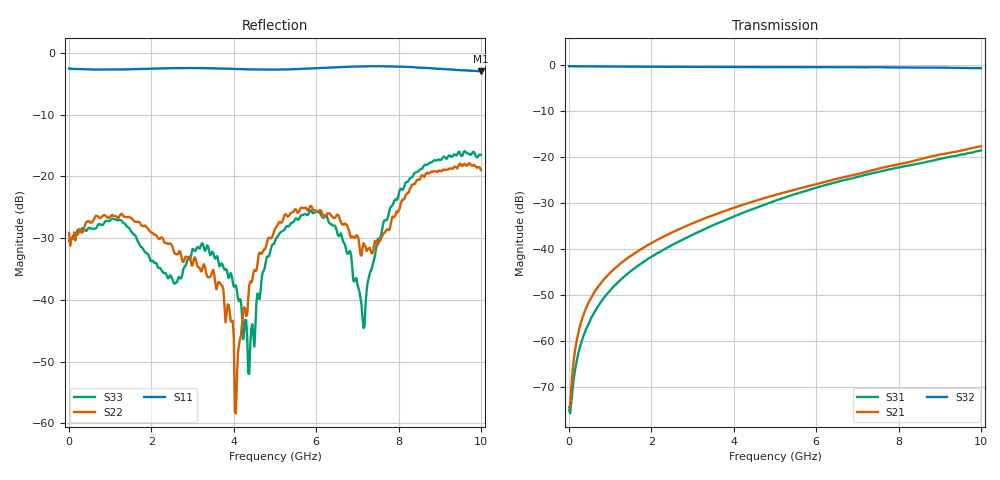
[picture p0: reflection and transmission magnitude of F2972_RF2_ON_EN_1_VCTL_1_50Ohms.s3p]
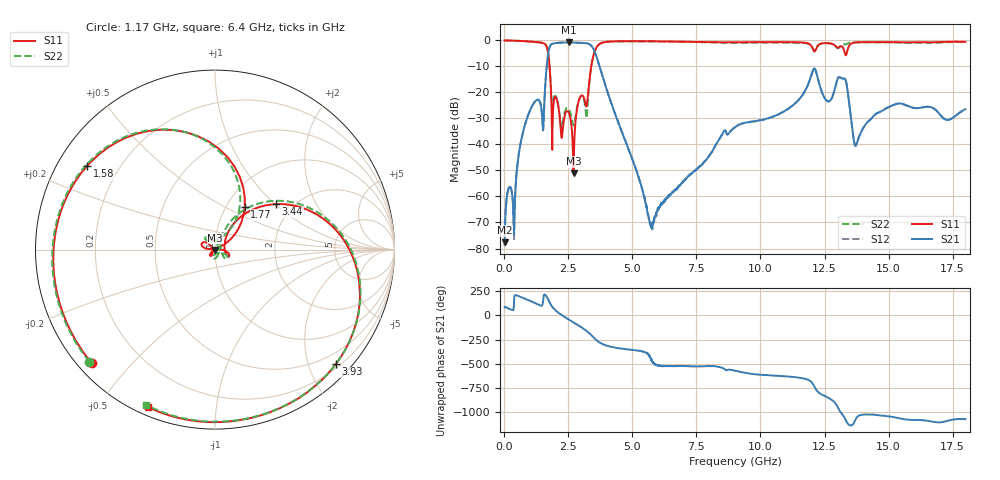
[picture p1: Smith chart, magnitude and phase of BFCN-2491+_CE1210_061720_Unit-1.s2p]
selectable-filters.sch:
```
<Qucs Schematic 0.0.20>
<Properties>
  <View=36,-440,2223,1395,0.617438,0,120>
  <Grid=10,10,1>
  <DataSet=sband-rx.dat>
  <DataDisplay=sband-rx.dpl>
  <OpenDisplay=1>
  <Script=sband-rx.m>
  <RunScript=0>
  <showFrame=0>
  <FrameText0=Title>
  <FrameText1=Drawn By:>
  <FrameText2=Date:>
  <FrameText3=Revision:>
</Properties>
<Symbol>
</Symbol>
<Components>
  <GND *9 5 1580 500 0 0 0 0>
  <L L4 1 730 230 8 -26 0 1 "54.3 pH" 1 "" 0>
  <C C4 1 700 230 -8 46 0 1 "113 pF" 1 "" 0 "neutral" 0>
  <GND *6 5 730 260 0 0 0 0>
  <L L5 1 840 150 -26 -44 0 0 "145 nH" 1 "" 0>
  <C C5 1 780 150 -26 10 0 0 "42.5 fF" 1 "" 0 "neutral" 0>
  <L L6 1 870 230 8 -26 0 1 "38.6 pH" 1 "" 0>
  <C C6 1 840 230 -8 46 0 1 "159 pF" 1 "" 0 "neutral" 0>
  <GND *7 5 870 260 0 0 0 0>
  <L L7 1 980 150 -26 -44 0 0 "145 nH" 1 "" 0>
  <C C7 1 920 150 -26 10 0 0 "42.5 fF" 1 "" 0 "neutral" 0>
  <L L8 1 1010 230 8 -26 0 1 "54.3 pH" 1 "" 0>
  <C C8 1 980 230 -8 46 0 1 "113 pF" 1 "" 0 "neutral" 0>
  <GND *8 5 1010 260 0 0 0 0>
  <Pac P5 1 1580 470 18 -26 0 1 "1" 1 "50 Ohm" 1 "0 dBm" 0 "1 GHz" 0 "26.85" 0>
  <GND *5 5 320 450 0 0 0 0>
  <GND *12 5 830 1350 0 0 0 0>
  <Pac P8 1 660 1280 18 -26 0 1 "4" 1 "50 Ohm" 1 "0 dBm" 0 "1 GHz" 0 "26.85" 0>
  <Pac P7 1 1000 1280 18 -26 0 1 "3" 1 "50 Ohm" 1 "0 dBm" 0 "1 GHz" 0 "26.85" 0>
  <Eqn Eqn3 1 1200 1230 -28 15 0 0 "S34_dB=dB(S[3,4])" 1 "S44_dB=dB(S[4,4])" 1 "yes" 0>
  <C C10 1 1200 150 -26 17 0 0 "100 pF" 1 "" 0 "neutral" 0>
  <C C11 1 1160 470 -26 17 0 0 "100 pF" 1 "" 0 "neutral" 0>
  <C C12 1 450 320 -26 17 0 0 "100 pF" 1 "" 0 "neutral" 0>
  <Eqn Eqn2 1 840 -100 -28 15 0 0 "S21_dB=dB(S[2,1])" 1 "S25_dB=dB(S[2,5])" 1 "S11_dB=dB(S[1,1])" 1 "S55_dB=dB(S[5,5])" 1 "yes" 0>
  <GND *11 5 870 500 0 0 0 0>
  <Pac P6 1 320 380 18 -26 0 1 "2" 1 "50 Ohm" 1 "0 dBm" 0 "1 GHz" 0 "26.85" 0>
  <SUBST FR4_elecrow 1 1030 -110 -30 24 0 0 "4.3" 1 "0.18mm" 1 "0.035 mm" 1 "0.015" 1 "1.72e-8" 1 "0" 1>
  <MTEE MS6 1 600 320 34 -26 1 1 "FR4_elecrow" 0 "0.65mm" 1 "0.65mm" 1 "0.65mm" 1 "Hammerstad" 0 "Kirschning" 0 "26.85" 0 "showNumbers" 0>
  <MLIN MS5 1 650 150 -26 -68 1 0 "FR4_elecrow" 0 "0.15 mm" 1 "10 mm" 1 "Hammerstad" 0 "Kirschning" 0 "26.85" 0>
  <MLIN MS2 1 720 470 -26 14 0 0 "FR4_elecrow" 0 "0.15 mm" 1 "5 mm" 1 "Hammerstad" 0 "Kirschning" 0 "26.85" 0>
  <MLIN MS3 1 1040 470 -26 14 0 0 "FR4_elecrow" 0 "0.15 mm" 1 "5 mm" 1 "Hammerstad" 0 "Kirschning" 0 "26.85" 0>
  <MLIN MS4 1 1080 150 -26 -68 1 0 "FR4_elecrow" 0 "0.15 mm" 1 "2 mm" 1 "Hammerstad" 0 "Kirschning" 0 "26.85" 0>
  <MLIN MS7 1 740 1230 -26 -68 1 0 "FR4_elecrow" 0 "0.15 mm" 1 "5 mm" 1 "Hammerstad" 0 "Kirschning" 0 "26.85" 0>
  <MLIN MS8 1 900 1230 -26 -68 1 0 "FR4_elecrow" 0 "0.15 mm" 1 "5 mm" 1 "Hammerstad" 0 "Kirschning" 0 "26.85" 0>
  <C C9 1 1480 340 -26 17 0 0 "100 pF" 1 "" 0 "neutral" 0>
  <SPfile X1 1 1310 370 -70 -26 1 3 "F2972_RF2_ON_EN_1_VCTL_1_50Ohms.s3p" 0 "rectangular" 0 "linear" 0 "open" 0 "3" 0>
  <GND *10 5 1390 480 0 0 0 0>
  <.SP SP2 1 600 -110 0 68 0 0 "log" 1 "1000 MHz" 1 "4000 MHz" 1 "1000" 1 "no" 0 "1" 0 "2" 0 "no" 0 "no" 0>
  <SPfile X5 1 830 1230 -26 -38 0 0 "BFCN-2491+_CE1210_061720_Unit-1.s2p" 0 "rectangular" 0 "linear" 0 "open" 0 "2" 0>
  <SPfile X6 1 870 470 -26 -38 0 0 "BFCN-2491+_CE1210_061720_Unit-1.s2p" 0 "rectangular" 0 "linear" 0 "open" 0 "2" 0>
</Components>
<Wires>
  <730 150 730 200 "" 0 0 0 "">
  <870 150 870 200 "" 0 0 0 "">
  <1010 150 1010 200 "" 0 0 0 "">
  <730 150 750 150 "" 0 0 0 "">
  <700 200 730 200 "" 0 0 0 "">
  <700 260 730 260 "" 0 0 0 "">
  <870 150 890 150 "" 0 0 0 "">
  <840 200 870 200 "" 0 0 0 "">
  <840 260 870 260 "" 0 0 0 "">
  <980 200 1010 200 "" 0 0 0 "">
  <980 260 1010 260 "" 0 0 0 "">
  <680 150 730 150 "" 0 0 0 "">
  <600 150 600 290 "" 0 0 0 "">
  <600 150 620 150 "" 0 0 0 "">
  <480 320 570 320 "" 0 0 0 "">
  <1010 150 1050 150 "" 0 0 0 "">
  <1110 150 1170 150 "" 0 0 0 "">
  <660 1350 830 1350 "" 0 0 0 "">
  <660 1310 660 1350 "" 0 0 0 "">
  <660 1230 710 1230 "" 0 0 0 "">
  <660 1230 660 1250 "" 0 0 0 "">
  <830 1350 1000 1350 "" 0 0 0 "">
  <1000 1310 1000 1350 "" 0 0 0 "">
  <930 1230 1000 1230 "" 0 0 0 "">
  <1000 1230 1000 1250 "" 0 0 0 "">
  <600 350 600 470 "" 0 0 0 "">
  <600 470 690 470 "" 0 0 0 "">
  <1070 470 1130 470 "" 0 0 0 "">
  <750 470 840 470 "" 0 0 0 "">
  <900 470 1010 470 "" 0 0 0 "">
  <320 410 320 450 "" 0 0 0 "">
  <320 320 420 320 "" 0 0 0 "">
  <320 320 320 350 "" 0 0 0 "">
  <1230 150 1280 150 "" 0 0 0 "">
  <1580 340 1580 440 "" 0 0 0 "">
  <1510 340 1580 340 "" 0 0 0 "">
  <1340 340 1450 340 "" 0 0 0 "">
  <1280 150 1280 340 "" 0 0 0 "">
  <1370 370 1390 370 "" 0 0 0 "">
  <1390 370 1390 480 "" 0 0 0 "">
  <1280 400 1280 470 "" 0 0 0 "">
  <1190 470 1280 470 "" 0 0 0 "">
  <830 1260 830 1350 "" 0 0 0 "">
  <860 1230 870 1230 "" 0 0 0 "">
  <770 1230 800 1230 "" 0 0 0 "">
</Wires>
<Diagrams>
  <Rect 230 961 1823 371 3 #c0c0c0 1 00 1 1.8e+09 2e+07 2.6e+09 1 -168.59 20 20 1 -1 0.2 1 315 0 225 "" "" "" "">
	<"S21_dB" #ff0000 0 3 0 0 0>
	  <Mkr 1.99861e+09 188 -430 3 0 0>
	  <Mkr 2.05486e+09 618 -420 3 0 0>
	  <Mkr 2.04348e+09 384 -393 3 0 0>
	<"S34_dB" #ff00ff 0 3 0 0 0>
	  <Mkr 2.10683e+09 770 -423 3 0 0>
	  <Mkr 2.23948e+09 1062 -396 3 0 0>
	<"S25_dB" #55557f 0 3 0 0 0>
  </Rect>
  <Smith 1450 96 516 516 3 #c0c0c0 1 00 1 0 1 1 1 0 4 1 1 0 1 1 315 0 225 "" "" "" "">
	<"S[1,2]" #ff00ff 0 3 0 0 0>
  </Smith>
</Diagrams>
<Paintings>
  <Text 1190 60 12 #000000 0 "Chebyshev band-pass filter \n 2 GHz...2.06 GHz, pi-type, \n impedance matching 50 Ohm">
  <Text 1290 260 12 #000000 0 "Reflective Short F2972 or add power source with 0.1Ohm\nReflective Open HMC544 (need to change the ports) or add power source with 1MOhm">
</Paintings>
```
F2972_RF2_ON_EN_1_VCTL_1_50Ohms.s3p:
! Integrated Device Technology
! Corporate Headquarters
! 6024 Silver Creek Valley Road
! San Jose, CA 95138  USA
! Phone:  1-408-284-8200
! Toll Free:  1-800-223-1366
! Webpage:  http://www.idt.com/
! Timing and RF Division
! 515 Groton Road, Suite 102
! Westford, MA 01886-6024
! Device:  F2972
! Description: High Linearity Broadband SP2T
! Frequency:  0.005 - 10.000 GHz
! Package:  2x2 mm LQFN Plastic Package: 12 pin
! Ports:  3 RF, 3 DC
!  Pin  1  = GND
!  Pin  2  = RFC  = Port 3
!  Pin  3  = GND
!  Pin  4  = GND
!  Pin  5  = RF1  = Port 1
!  Pin  6  = GND
!  Pin  7  = VCTL
!  Pin  8  = EN
!  Pin  9  = VCC
!  Pin 10  = GND
!  Pin 11  = RF2  = Port 2
!  Pin 12  = GND
!  EP  = GND
! State:  RF2 Path Selected
! Voltage:  VCC  = +3.3 V
!  EN  = +3.3 V (Logic HIGH)
!  VCTL  = +3.3 V (Logic HIGH)
! Data:  The device was measured on the F2972 50 ohm EVKit
!  using a calibrated network analyzer.
!  The Thru reference parh (J4 to J5) was removed from
!  the data to produce the de-embedded results.
!  The reference plane is the edge of the RF pins.
! Misc:
! Date Measured:  2017-01-28
! Date:  2017-05-10 SJ
! Note:
!  Integrated Device Technology supplies this data as a sample
!	of measured data.
!  Data was taken at 25 degrees C.
!  Integrated Device Technology reserves the right to change
! 	this data at anytime.
! 3 Port Network Data
! freq  dbS11  angS11  dbS12  angS12  dbS13  angS13
!  dbS21  angS21  dbS22  angS22  dbS23  angS23
!  dbS31  angS31  dbS32  angS32  dbS33  angS33
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# HZ S DB R 50
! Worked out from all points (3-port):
!   401 points, 1 MHz to 10 GHz, reference 50 ohm
!   strongest paths, dB at 1 MHz, 2.501 GHz, 5 GHz, 7.5 GHz, 10 GHz:
!     S32: -0.2, -0.4, -0.5, -0.5, -0.7
!     S21: -74.3, -36.4, -28.2, -22.5, -17.6
!     S31: -74.9, -39.1, -29.5, -23.2, -18.6
!   lowest |S11| = -3.0 dB at 10 GHz (marker M1), VSWR 5.91, Z = 24.9 + j66.6 ohm
!   |S11| at or under -10 dB: nowhere
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1000000  -2.54 179.3  -75.32 -9.2  -79.95 14.3
         -74.31 42.7  -29.16 15.6  -0.25 -0.4
         -74.89 -15.6  -0.24 -0.4  -30.40 17.6
4.075592e9  -2.63 133.2  -30.80 82.9  -32.64 101.7
            -30.79 83.1  -52.66 -120.3  -0.42 -38.4
            -32.64 101.8  -0.43 -38.4  -38.40 -142.5
5.250475e9  -2.67 114.9  -27.66 77.0  -28.71 95.3
            -27.62 76.7  -26.11 39.3  -0.44 -49.6
            -28.72 95.2  -0.46 -49.6  -28.39 11.3
7.150285e9  -2.17 95.5  -23.38 64.9  -23.98 80.4
            -23.37 65.0  -30.83 92.5  -0.48 -68.4
            -23.97 80.8  -0.49 -68.2  -44.59 121.6
1e10  -2.97 69.0  -17.61 38.3  -18.50 55.3
      -17.64 38.0  -18.96 -174.5  -0.68 -97.9
      -18.55 55.2  -0.67 -97.8  -16.49 167.9
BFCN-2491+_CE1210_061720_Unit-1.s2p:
!Mini-Circuits Laboratory
!S-Parameters
!Model:BFCN-2491+
!S/N:Unit 1
!Run/Lot/Date Code:CE1210/MP20240/NA/1946
!Fixture/SN/Due: 90-4-20-290/75508/08-26-20
!Connection: PORT<1> - pin<1>, PORT<2> - pin<3>
!Port extension was done on test fixture
!Created: 06-17-2020 at 8:58 AM
# MHZ S DB R 50
!Frequency  S11 dB  S11 DEG  S21 dB  S21 DEG  S12 dB  S12 DEG  S22 dB  S22 DEG
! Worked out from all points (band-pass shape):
!   1800 points, 10 MHz to 18 GHz, reference 50 ohm
!   highest |S21| = -0.83 dB at 2.52 GHz (marker M1); lowest = -77.6 dB at 10 MHz (marker M2)
!   |S21| within 3 dB of the highest: 1.735 GHz to 3.503 GHz (1.768 GHz wide, 67.5 % of centre)
!   lowest |S11| = -51.1 dB at 2.7 GHz (marker M3), VSWR 1.01, Z = 50.1 - j0.246 ohm
!   |S11| at or under -10 dB: 1.764 GHz to 3.393 GHz (1.628 GHz wide, 63.2 % of centre)
!   |S22| runs from -33.6 to 0.0 dB; largest |S21 - S12| = 0.0011
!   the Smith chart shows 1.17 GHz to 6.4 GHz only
!   S11 on the Smith chart (normalised r, x): 1.17 GHz: 0.04, -0.39; 1.58 GHz: 0.09, +0.30; 1.77 GHz: 1.22, +0.63; 3.44 GHz: 1.64, +1.01; 3.93 GHz: 0.27, -2.48; 6.4 GHz: 0.03, -0.66
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10  -0.05 -1.2  -77.63 83.0  -79.10 79.4  -0.05 -1.2
1170  -0.59 -137.4  -23.84 129.5  -23.84 129.4  -0.55 -138.4
1580  -1.40 146.7  -19.98 -147.0  -19.97 -147.0  -1.33 146.4
1770  -10.73 55.2  -2.52 130.2  -2.53 130.2  -10.36 62.3
2520  -27.81 -134.2  -0.83 -45.0  -0.84 -45.0  -26.51 -102.9
2700  -51.10 -61.7  -0.84 -73.3  -0.84 -73.3  -32.66 -70.8
3440  -7.45 36.7  -2.67 142.9  -2.67 142.8  -7.56 40.3
3930  -0.66 -43.5  -16.91 53.1  -16.92 53.0  -0.66 -43.1
6400  -0.42 -113.2  -60.36 -164.5  -60.01 -164.8  -0.49 -113.9
9010  -0.77 -151.9  -33.38 149.0  -33.43 149.0  -0.94 -155.4
18000  -0.55 129.1  -26.45 9.9  -26.45 10.0  -0.69 126.3
